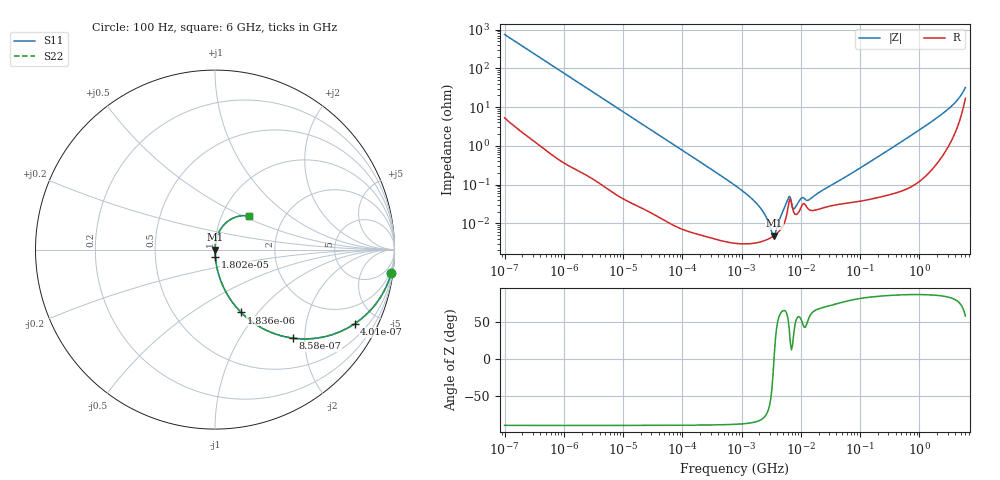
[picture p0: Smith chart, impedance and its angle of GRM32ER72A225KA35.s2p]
!Murata Part Number: GRM32ER72A225KA35
!These Parameters are Measured in Series Mode Connection
!Data Generated on Mar 30, 2021
!  o--ll--o
!Port1  Port2
!  o------o
!Operation Temp=25[degC], DC Bias Voltage=0[V]
!Freq. Start=100[Hz] Stop=6[GHz] 401[Steps]
# Hz S RI R 50
!Freq.(Hz) S11(Real) S11(Imag) S21(Real) S21(Imag) S12(Real) S12(Imag) S22(Real) S22(Imag)
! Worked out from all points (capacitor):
!   401 points, 100 Hz to 6 GHz, reference 50 ohm
!   read as one part in series: C = 2.12 uF near 109 Hz
!   lowest |Z| = 4.81 mohm at 3.55 MHz (marker M1)
!   series resonance near 3.526 MHz, so ESL is about 960 pH
!   S11 on the Smith chart (normalised r, x): 100 Hz: 1, -15; 401 Hz: 1.02, -3.75; 858 Hz: 1.01, -1.76; 1.836 kHz: 1.00, -0.82; 18.02 kHz: 1.00, -0.08; 6 GHz: 1.34, +0.54
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100  0.9816 -0.131  0.0184 0.131  0.0184 0.131  0.9816 -0.131
224  0.9169 -0.2731  0.0831 0.2731  0.0831 0.2731  0.9169 -0.2731
401  0.7775 -0.4133  0.2225 0.4133  0.2225 0.4133  0.7775 -0.4133
858  0.4357 -0.4935  0.5643 0.4935  0.5643 0.4935  0.4357 -0.4935
1836  0.1458 -0.3503  0.8542 0.3503  0.8542 0.3503  0.1458 -0.3503
2008  0.1251 -0.3282  0.8749 0.3282  0.8749 0.3282  0.1251 -0.3282
5378  0.0202 -0.138  0.9798 0.138  0.9798 0.138  0.0202 -0.138
18016  0.00205 -0.0421  0.9979 0.0421  0.9979 0.0421  0.00205 -0.0421
40335  0.0005 -0.0189  0.9995 0.0189  0.9995 0.0189  0.0005 -0.0189
774597  3.13e-05 -0.000952  1 0.000952  1 0.000952  3.13e-05 -0.000952
1734173  3.11e-05 -0.000342  1 0.000342  1 0.000342  3.11e-05 -0.000342
2967816  4.07e-05 -7.91e-05  1 7.91e-05  1 7.91e-05  4.07e-05 -7.91e-05
3549919  4.8e-05 3.2e-06  1 -3.2e-06  1 -3.2e-06  4.8e-05 3.2e-06
4246196  6.08e-05 9.13e-05  0.9999 -9.13e-05  0.9999 -9.13e-05  6.08e-05 9.13e-05
6075234  0.000247 0.000352  0.9998 -0.000352  0.9998 -0.000352  0.000247 0.000352
7947587  0.000172 0.000177  0.9998 -0.000177  0.9998 -0.000177  0.000172 0.000177
1.039699e7  0.000284 0.000354  0.9997 -0.000354  0.9997 -0.000354  0.000284 0.000354
1.555665e7  0.000213 0.000415  0.9998 -0.000415  0.9998 -0.000415  0.000213 0.000415
3.124326e8  0.000608 0.00799  0.9994 -0.00799  0.9994 -0.00799  0.000608 0.00799
2.450438e9  0.00976 0.0659  0.9902 -0.0659  0.9902 -0.0659  0.00976 0.0659
4.385646e9  0.0489 0.1371  0.9511 -0.1371  0.9511 -0.1371  0.0489 0.1371
6e9  0.1878 0.1887  0.8122 -0.1887  0.8122 -0.1887  0.1878 0.1887
